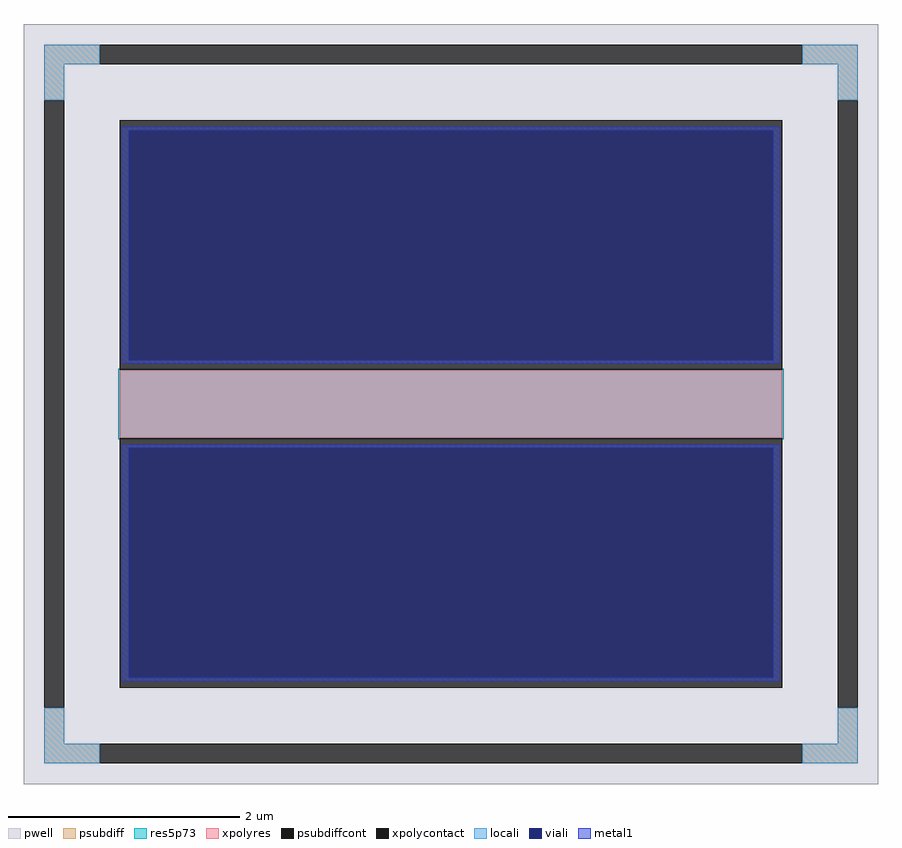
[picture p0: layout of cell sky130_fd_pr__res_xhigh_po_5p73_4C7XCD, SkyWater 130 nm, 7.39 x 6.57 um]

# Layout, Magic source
magic
tech sky130A
magscale 1 2
<< pwell >>
rect -739 -657 739 657
<< psubdiff >>
rect -703 587 -607 621
rect 607 587 703 621
rect -703 525 -669 587
rect 669 525 703 587
rect -703 -587 -669 -525
rect 669 -587 703 -525
rect -703 -621 -607 -587
rect 607 -621 703 -587
<< psubdiffcont >>
rect -607 587 607 621
rect -703 -525 -669 525
rect 669 -525 703 525
rect -607 -621 607 -587
<< xpolycontact >>
rect -573 59 573 491
rect -573 -491 573 -59
<< xpolyres >>
rect -573 -59 573 59
<< locali >>
rect -703 587 -607 621
rect 607 587 703 621
rect -703 525 -669 587
rect 669 525 703 587
rect -703 -587 -669 -525
rect 669 -587 703 -525
rect -703 -621 -607 -587
rect 607 -621 703 -587
<< viali >>
rect -557 76 557 473
rect -557 -473 557 -76
<< metal1 >>
rect -569 473 569 479
rect -569 76 -557 473
rect 557 76 569 473
rect -569 70 569 76
rect -569 -76 569 -70
rect -569 -473 -557 -76
rect 557 -473 569 -76
rect -569 -479 569 -473
<< res5p73 >>
rect -575 -61 575 61
<< properties >>
string FIXED_BBOX -686 -604 686 604
string gencell sky130_fd_pr__res_xhigh_po_5p73
string library sky130
string parameters w 5.730 l 0.592 m 1 nx 1 wmin 5.730 lmin 0.50 rho 2000 val 272.321 dummy 0 dw 0.0 term 188.2 sterm 0.0 caplen 0 wmax 5.730 guard 1 glc 1 grc 1 gtc 1 gbc 1 compatible {sky130_fd_pr__res_xhigh_po_0p35  sky130_fd_pr__res_xhigh_po_0p69 sky130_fd_pr__res_xhigh_po_1p41  sky130_fd_pr__res_xhigh_po_2p85 sky130_fd_pr__res_xhigh_po_5p73} full_metal 1 n_guard 0 hv_guard 0 vias 1 viagb 0 viagt 0 viagl 0 viagr 0
<< end >>
